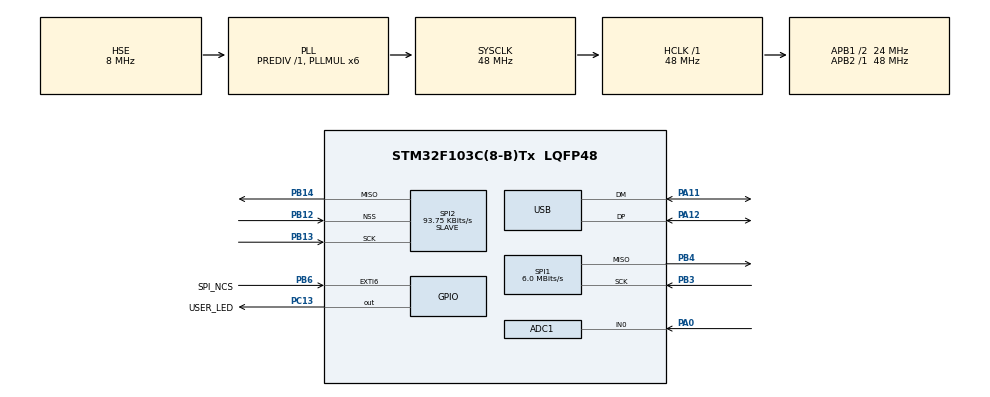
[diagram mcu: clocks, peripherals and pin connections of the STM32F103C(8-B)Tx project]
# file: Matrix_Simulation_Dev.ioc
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ADC1.Channel-0\#ChannelRegularConversion=ADC_CHANNEL_0
ADC1.NbrOfConversionFlag=1
ADC1.Rank-0\#ChannelRegularConversion=1
ADC1.SamplingTime-0\#ChannelRegularConversion=ADC_SAMPLETIME_1CYCLE_5
ADC1.master=1
Dma.Request0=SPI1_TX
Dma.Request1=SPI2_TX
Dma.SPI1_TX.0.Direction=DMA_MEMORY_TO_PERIPH
Dma.SPI1_TX.0.Instance=DMA1_Channel3
Dma.SPI1_TX.0.MemDataAlignment=DMA_MDATAALIGN_BYTE
Dma.SPI1_TX.0.MemInc=DMA_MINC_ENABLE
Dma.SPI1_TX.0.Mode=DMA_CIRCULAR
Dma.SPI1_TX.0.PeriphDataAlignment=DMA_PDATAALIGN_BYTE
Dma.SPI1_TX.0.PeriphInc=DMA_PINC_DISABLE
Dma.SPI1_TX.0.Priority=DMA_PRIORITY_HIGH
Dma.SPI2_TX.1.Direction=DMA_MEMORY_TO_PERIPH
Dma.SPI2_TX.1.Instance=DMA1_Channel5
Dma.SPI2_TX.1.MemDataAlignment=DMA_MDATAALIGN_BYTE
Dma.SPI2_TX.1.MemInc=DMA_MINC_ENABLE
Dma.SPI2_TX.1.Mode=DMA_NORMAL
Dma.SPI2_TX.1.PeriphDataAlignment=DMA_PDATAALIGN_BYTE
Dma.SPI2_TX.1.PeriphInc=DMA_PINC_DISABLE
Dma.SPI2_TX.1.Priority=DMA_PRIORITY_VERY_HIGH
Mcu.Family=STM32F1
Mcu.Name=STM32F103C(8-B)Tx
Mcu.Package=LQFP48
NVIC.DMA1_Channel3_IRQn=true\:0\:0\:false\:false\:true\:false\:true
NVIC.DMA1_Channel5_IRQn=true\:0\:0\:false\:false\:true\:false\:true
NVIC.EXTI9_5_IRQn=true\:0\:0\:false\:false\:true\:true\:true
NVIC.PriorityGroup=NVIC_PRIORITYGROUP_4
NVIC.USB_LP_CAN1_RX0_IRQn=true\:0\:0\:false\:false\:true\:false\:true
PA0-WKUP.Signal=ADCx_IN0
PA11.Mode=Device
PA11.Signal=USB_DM
PA12.Mode=Device
PA12.Signal=USB_DP
PA13.Mode=Serial_Wire
PA13.Signal=SYS_JTMS-SWDIO
PA14.Mode=Serial_Wire
PA14.Signal=SYS_JTCK-SWCLK
PB12.Mode=NSS_Signal_Hard_Input
PB12.Signal=SPI2_NSS
PB13.Mode=TX_Only_Simplex_Unidirect_Slave
PB13.Signal=SPI2_SCK
PB14.Mode=TX_Only_Simplex_Unidirect_Slave
PB14.Signal=SPI2_MISO
PB3.Mode=TX_Only_Simplex_Unidirect_Slave
PB3.Signal=SPI1_SCK
PB4.Mode=TX_Only_Simplex_Unidirect_Slave
PB4.Signal=SPI1_MISO
PB6.GPIO_Label=SPI_NCS
PB6.GPIO_ModeDefaultEXTI=GPIO_MODE_IT_RISING_FALLING
PB6.Signal=GPXTI6
PC13-TAMPER-RTC.GPIO_Label=USER_LED
PC13-TAMPER-RTC.Signal=GPIO_Output
PD0-OSC_IN.Mode=HSE-External-Oscillator
PD0-OSC_IN.Signal=RCC_OSC_IN
PD1-OSC_OUT.Mode=HSE-External-Oscillator
PD1-OSC_OUT.Signal=RCC_OSC_OUT
ProjectManager.HeapSize=0x200
ProjectManager.StackSize=0x400
ProjectManager.TargetToolchain=STM32CubeIDE
RCC.ADCPresc=RCC_ADCPCLK2_DIV4
RCC.AHBFreq_Value=48000000
RCC.APB1CLKDivider=RCC_HCLK_DIV2
RCC.APB1Freq_Value=24000000
RCC.APB1TimFreq_Value=48000000
RCC.APB2Freq_Value=48000000
RCC.APB2TimFreq_Value=48000000
RCC.DATA_CACHE_ENABLE=1
RCC.HCLKFreq_Value=48000000
RCC.INSTRUCTION_CACHE_ENABLE=1
RCC.PLLMUL=RCC_PLL_MUL6
RCC.PLLSourceVirtual=RCC_PLLSOURCE_HSE
RCC.PWR_Regulator_Voltage_Scale=PWR_REGULATOR_VOLTAGE_SCALE1
RCC.RCC_TIM_PRescaler_Selection=RCC_TIMPRES_DESACTIVATED
RCC.SYSCLKFreq_VALUE=48000000
RCC.SYSCLKSource=RCC_SYSCLKSOURCE_PLLCLK
RCC.USBFreq_Value=48000000
SH.ADCx_IN0.0=ADC1_IN0,IN0
SPI1.BaudRatePrescaler=SPI_BAUDRATEPRESCALER_8
SPI1.CalculateBaudRate=6.0 MBits/s
SPI1.Direction=SPI_DIRECTION_2LINES
SPI1.Mode=SPI_MODE_SLAVE
SPI1.VirtualType=VM_SLAVE
SPI2.BaudRatePrescaler=SPI_BAUDRATEPRESCALER_256
SPI2.CalculateBaudRate=93.75 KBits/s
SPI2.DataSize=SPI_DATASIZE_8BIT
SPI2.Direction=SPI_DIRECTION_2LINES
SPI2.Mode=SPI_MODE_SLAVE
SPI2.VirtualNSS=VM_NSSHARD
SPI2.VirtualType=VM_SLAVE
USB_DEVICE.CLASS_NAME_FS=CDC
USB_DEVICE.VirtualMode=Cdc
USB_DEVICE.VirtualModeFS=Cdc_FS
VP_USB_DEVICE_VS_USB_DEVICE_CDC_FS.Mode=CDC_FS
board=custom

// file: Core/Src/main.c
/* USER CODE BEGIN Header */
/**
*
 *
 *
 *
  ******************************************************************************
  * @file           : main.c
  * @brief          : Main program body
  ******************************************************************************
  *
  *	Reconfigured to simulate SPI master, request 11 bytes of data, f_clock = 125 kHz
  *
  *
  *
  *
  *
  *
  * 	This device is used to simiulate the matrix controller
  * 	Provide Data via SPI at modearte high speed to the CPU (Clock set to 9MHz,
  * 	no clue if relevant as slave)
  *
  *
  *		SPI1: analog mode
  *
  * 	A ADC pin is sampled for random noise on the system
  * 	A pattern is introduced to verify data
  *
  * 	SPI Mode is in slave mode, as Rapsberry only supports master mode!
  * 	data is transferred in 11 bytes a row  x 8 rows
  *
  *
  *
  * 	SPI2: digital mode
  *
  * 	a ADC pin is used as reference for random number generator
  * 	a pin at a time is lighted up to simulate a ball rolling down in a straight line
  * 	if it disappears at the bottom, a new one will be generated
  *
  * 	Data format: Byte: row with bit at 0 == y = 0
  * 	11 bytes gets transferred with each requrest
  *
  *
  *
  ******************************************************************************
  * @attention
  *
  * <h2><center>&copy; Copyright (c) 2021 STMicroelectronics.
  * All rights reserved.</center></h2>
  *
  * This software component is licensed by ST under BSD 3-Clause license,
  * the "License"; You may not use this file except in compliance with the
  * License. You may obtain a copy of the License at:
  *                        opensource.org/licenses/BSD-3-Clause
  *
  ******************************************************************************
  */
/* USER CODE END Header */
#include "main.h"
#include "usb_device.h"

/* USER CODE BEGIN Includes */

#include "usbd_cdc_if.h"

/* USER CODE END Includes */

/* USER CODE BEGIN PD */

#define N_COL 11
#define N_ROW 8

/* USER CODE END PD */

ADC_HandleTypeDef hadc1;

SPI_HandleTypeDef hspi1;
SPI_HandleTypeDef hspi2;
DMA_HandleTypeDef hdma_spi1_tx;
DMA_HandleTypeDef hdma_spi2_tx;

/* USER CODE BEGIN PV */

uint8_t matrix_data[N_ROW][N_COL] = {0};		// use for analog values --> SPI1

uint8_t matrix_bool[N_COL] = {255,0xaa,255,255,255,255,255,255,255,255,255};						// use for digital values --> SPI2
uint8_t curr_col = 0, curr_row = 0;

/* USER CODE END PV */

void SystemClock_Config(void);
static void MX_GPIO_Init(void);
static void MX_DMA_Init(void);
static void MX_ADC1_Init(void);
static void MX_SPI1_Init(void);
static void MX_SPI2_Init(void);
/* USER CODE BEGIN PFP */
void HAL_SPI_TxCpltCallback(SPI_HandleTypeDef *hspi);
/* USER CODE END PFP */

int main(void)
{

  /* MCU Configuration--------------------------------------------------------*/

  /* Reset of all peripherals, Initializes the Flash interface and the Systick. */
  HAL_Init();

  /* Configure the system clock */
  SystemClock_Config();

  /* Initialize all configured peripherals */
  MX_GPIO_Init();
  MX_DMA_Init();
  MX_ADC1_Init();
  MX_SPI1_Init();
  MX_SPI2_Init();
  MX_USB_DEVICE_Init();
  /* USER CODE BEGIN 2 */

  //
  HAL_GPIO_WritePin(USER_LED_GPIO_Port, USER_LED_Pin, SET);

  /* USER CODE END 2 */

  /* Infinite loop */
  /* USER CODE BEGIN WHILE */
  while (1)
  {

  	// Set user led
  	//HAL_GPIO_WritePin(USER_LED_GPIO_Port, USER_LED_Pin, RESET);

  	for(int i = 0; i < N_ROW; i++){
  		for(int j = 0; j < N_COL; j++){

  			if(i == j){
  				matrix_data[i][j] = 200;
  			}
  			else{
  				HAL_ADC_Start(&hadc1);															// start conversion
					while(HAL_ADC_PollForConversion(&hadc1, 100000));		// wait for conversion to finish
					matrix_data[i][j] = (uint8_t)(HAL_ADC_GetValue(&hadc1) >> 4);				// get value, shift, so it fits in 8bit variable

  			}

  		}
  	}

  	// finished conversion

  	uint8_t data[11] = {0};

  	  uint8_t col = 0, row = 0;

  	  while(1){

  	  	for(int i = 0; i < 11; i++){
  	  		data[i] = data[i] << 1;
  	  	}

  	  	row++;

  	  	if(row > 8){
  	  		row = 0;

  	  		data[col % 11] = 1;
  	  		col++;

  	  	}

  	  	HAL_SPI_Transmit_DMA(&hspi2, data, 11);

  	  	char msg[100];
  	  	sprintf(msg, "%d,%d,%d,%d,%d,%d,%d,%d,%d,%d,%d\n", data[0], data[1], data[2], data[3], data[4], data[5], data[6], data[7], data[8], data[9], data[10]);
				CDC_Transmit_FS( (uint8_t*) msg, strlen(msg));

  	  	HAL_Delay(90);

  	  }

		// delay for 100 ms, for now
  	HAL_Delay(100);

    /* USER CODE END WHILE */

  }
}

void SystemClock_Config(void)
{
  RCC_OscInitTypeDef RCC_OscInitStruct = {0};
  RCC_ClkInitTypeDef RCC_ClkInitStruct = {0};
  RCC_PeriphCLKInitTypeDef PeriphClkInit = {0};

  /** Initializes the RCC Oscillators according to the specified parameters
  * in the RCC_OscInitTypeDef structure.
  */
  RCC_OscInitStruct.OscillatorType = RCC_OSCILLATORTYPE_HSE;
  RCC_OscInitStruct.HSEState = RCC_HSE_ON;
  RCC_OscInitStruct.HSEPredivValue = RCC_HSE_PREDIV_DIV1;
  RCC_OscInitStruct.HSIState = RCC_HSI_ON;
  RCC_OscInitStruct.PLL.PLLState = RCC_PLL_ON;
  RCC_OscInitStruct.PLL.PLLSource = RCC_PLLSOURCE_HSE;
  RCC_OscInitStruct.PLL.PLLMUL = RCC_PLL_MUL6;
  if (HAL_RCC_OscConfig(&RCC_OscInitStruct) != HAL_OK)
  {
    Error_Handler();
  }
  /** Initializes the CPU, AHB and APB buses clocks
  */
  RCC_ClkInitStruct.ClockType = RCC_CLOCKTYPE_HCLK|RCC_CLOCKTYPE_SYSCLK
                              |RCC_CLOCKTYPE_PCLK1|RCC_CLOCKTYPE_PCLK2;
  RCC_ClkInitStruct.SYSCLKSource = RCC_SYSCLKSOURCE_PLLCLK;
  RCC_ClkInitStruct.AHBCLKDivider = RCC_SYSCLK_DIV1;
  RCC_ClkInitStruct.APB1CLKDivider = RCC_HCLK_DIV2;
  RCC_ClkInitStruct.APB2CLKDivider = RCC_HCLK_DIV1;

  if (HAL_RCC_ClockConfig(&RCC_ClkInitStruct, FLASH_LATENCY_1) != HAL_OK)
  {
    Error_Handler();
  }
  PeriphClkInit.PeriphClockSelection = RCC_PERIPHCLK_ADC|RCC_PERIPHCLK_USB;
  PeriphClkInit.AdcClockSelection = RCC_ADCPCLK2_DIV4;
  PeriphClkInit.UsbClockSelection = RCC_USBCLKSOURCE_PLL;
  if (HAL_RCCEx_PeriphCLKConfig(&PeriphClkInit) != HAL_OK)
  {
    Error_Handler();
  }
}

static void MX_ADC1_Init(void)
{

  ADC_ChannelConfTypeDef sConfig = {0};

  /** Common config
  */
  hadc1.Instance = ADC1;
  hadc1.Init.ScanConvMode = ADC_SCAN_DISABLE;
  hadc1.Init.ContinuousConvMode = DISABLE;
  hadc1.Init.DiscontinuousConvMode = DISABLE;
  hadc1.Init.ExternalTrigConv = ADC_SOFTWARE_START;
  hadc1.Init.DataAlign = ADC_DATAALIGN_RIGHT;
  hadc1.Init.NbrOfConversion = 1;
  if (HAL_ADC_Init(&hadc1) != HAL_OK)
  {
    Error_Handler();
  }
  /** Configure Regular Channel
  */
  sConfig.Channel = ADC_CHANNEL_0;
  sConfig.Rank = ADC_REGULAR_RANK_1;
  sConfig.SamplingTime = ADC_SAMPLETIME_1CYCLE_5;
  if (HAL_ADC_ConfigChannel(&hadc1, &sConfig) != HAL_OK)
  {
    Error_Handler();
  }

}

static void MX_SPI1_Init(void)
{

  /* SPI1 parameter configuration*/
  hspi1.Instance = SPI1;
  hspi1.Init.Mode = SPI_MODE_SLAVE;
  hspi1.Init.Direction = SPI_DIRECTION_2LINES;
  hspi1.Init.DataSize = SPI_DATASIZE_8BIT;
  hspi1.Init.CLKPolarity = SPI_POLARITY_LOW;
  hspi1.Init.CLKPhase = SPI_PHASE_1EDGE;
  hspi1.Init.NSS = SPI_NSS_SOFT;
  hspi1.Init.BaudRatePrescaler = SPI_BAUDRATEPRESCALER_8;
  hspi1.Init.FirstBit = SPI_FIRSTBIT_MSB;
  hspi1.Init.TIMode = SPI_TIMODE_DISABLE;
  hspi1.Init.CRCCalculation = SPI_CRCCALCULATION_DISABLE;
  hspi1.Init.CRCPolynomial = 10;
  if (HAL_SPI_Init(&hspi1) != HAL_OK)
  {
    Error_Handler();
  }

}

static void MX_SPI2_Init(void)
{

  /* SPI2 parameter configuration*/
  hspi2.Instance = SPI2;
  hspi2.Init.Mode = SPI_MODE_SLAVE;
  hspi2.Init.Direction = SPI_DIRECTION_2LINES;
  hspi2.Init.DataSize = SPI_DATASIZE_8BIT;
  hspi2.Init.CLKPolarity = SPI_POLARITY_LOW;
  hspi2.Init.CLKPhase = SPI_PHASE_1EDGE;
  hspi2.Init.NSS = SPI_NSS_HARD_INPUT;
  hspi2.Init.BaudRatePrescaler = SPI_BAUDRATEPRESCALER_256;
  hspi2.Init.FirstBit = SPI_FIRSTBIT_MSB;
  hspi2.Init.TIMode = SPI_TIMODE_DISABLE;
  hspi2.Init.CRCCalculation = SPI_CRCCALCULATION_DISABLE;
  hspi2.Init.CRCPolynomial = 10;
  if (HAL_SPI_Init(&hspi2) != HAL_OK)
  {
    Error_Handler();
  }

}

static void MX_DMA_Init(void)
{

  /* DMA controller clock enable */
  __HAL_RCC_DMA1_CLK_ENABLE();

  /* DMA interrupt init */
  /* DMA1_Channel3_IRQn interrupt configuration */
  HAL_NVIC_SetPriority(DMA1_Channel3_IRQn, 0, 0);
  HAL_NVIC_EnableIRQ(DMA1_Channel3_IRQn);
  /* DMA1_Channel5_IRQn interrupt configuration */
  HAL_NVIC_SetPriority(DMA1_Channel5_IRQn, 0, 0);
  HAL_NVIC_EnableIRQ(DMA1_Channel5_IRQn);

}

static void MX_GPIO_Init(void)
{
  GPIO_InitTypeDef GPIO_InitStruct = {0};

  /* GPIO Ports Clock Enable */
  __HAL_RCC_GPIOC_CLK_ENABLE();
  __HAL_RCC_GPIOD_CLK_ENABLE();
  __HAL_RCC_GPIOA_CLK_ENABLE();
  __HAL_RCC_GPIOB_CLK_ENABLE();

  /*Configure GPIO pin Output Level */
  HAL_GPIO_WritePin(USER_LED_GPIO_Port, USER_LED_Pin, GPIO_PIN_RESET);

  /*Configure GPIO pin : USER_LED_Pin */
  GPIO_InitStruct.Pin = USER_LED_Pin;
  GPIO_InitStruct.Mode = GPIO_MODE_OUTPUT_PP;
  GPIO_InitStruct.Pull = GPIO_NOPULL;
  GPIO_InitStruct.Speed = GPIO_SPEED_FREQ_LOW;
  HAL_GPIO_Init(USER_LED_GPIO_Port, &GPIO_InitStruct);

  /*Configure GPIO pin : SPI_NCS_Pin */
  GPIO_InitStruct.Pin = SPI_NCS_Pin;
  GPIO_InitStruct.Mode = GPIO_MODE_IT_RISING_FALLING;
  GPIO_InitStruct.Pull = GPIO_NOPULL;
  HAL_GPIO_Init(SPI_NCS_GPIO_Port, &GPIO_InitStruct);

  /* EXTI interrupt init*/
  HAL_NVIC_SetPriority(EXTI9_5_IRQn, 0, 0);
  HAL_NVIC_EnableIRQ(EXTI9_5_IRQn);

}

/* USER CODE BEGIN 4 */

void HAL_GPIO_EXTI_Callback(uint16_t GPIO_Pin) {

	// i have to figure it out myself which interrupt was created!

	if(GPIO_Pin == GPIO_PIN_6){

		// it was PB6

		// is it high
		if(GPIOB->IDR & GPIO_IDR_IDR6_Msk){
			// : rising edge: transmission ended

			// : reset DMA
			HAL_SPI_DMAStop(&hspi1);
	  	HAL_GPIO_WritePin(USER_LED_GPIO_Port, USER_LED_Pin, SET);

		}
		else{

			// write 0 to SPI data
			SPI1->DR = 0;
			HAL_SPI_Transmit_DMA(&hspi1, (uint8_t*)matrix_data, N_COL * N_ROW);

	  	HAL_GPIO_WritePin(USER_LED_GPIO_Port, USER_LED_Pin, RESET);

		}
	}

	else if(GPIO_Pin == GPIO_PIN_12){

			// it was PB6

			// is it high
			if(GPIOB->IDR & GPIO_IDR_IDR12_Msk){
				// : rising edge: transmission ended
				HAL_GPIO_WritePin(USER_LED_GPIO_Port, USER_LED_Pin, SET);
				// : reset DMA
				HAL_SPI_DMAStop(&hspi2);

		  	// stopping takes 4 us

			}
			else{
				HAL_GPIO_WritePin(USER_LED_GPIO_Port, USER_LED_Pin, RESET);
				// write 0 to SPI data but why?
				//SPI1->DR = 0;
				HAL_SPI_Transmit_DMA(&hspi2, (uint8_t*)matrix_bool, 3);

		  	// starting SPI DMA to transmit takes 9 us

			}
		}
}

//void HAL_SPI_TxCpltCallback(SPI_HandleTypeDef *hspi){
//	HAL_SPI_DMAStop(&hspi2);
//	HAL_GPIO_WritePin(USER_LED_GPIO_Port, USER_LED_Pin, SET);
//}

/* USER CODE END 4 */

void Error_Handler(void)
{
  __disable_irq();
  while (1)
  {
  }
}

/************************ (C) COPYRIGHT STMicroelectronics *****END OF FILE****/
